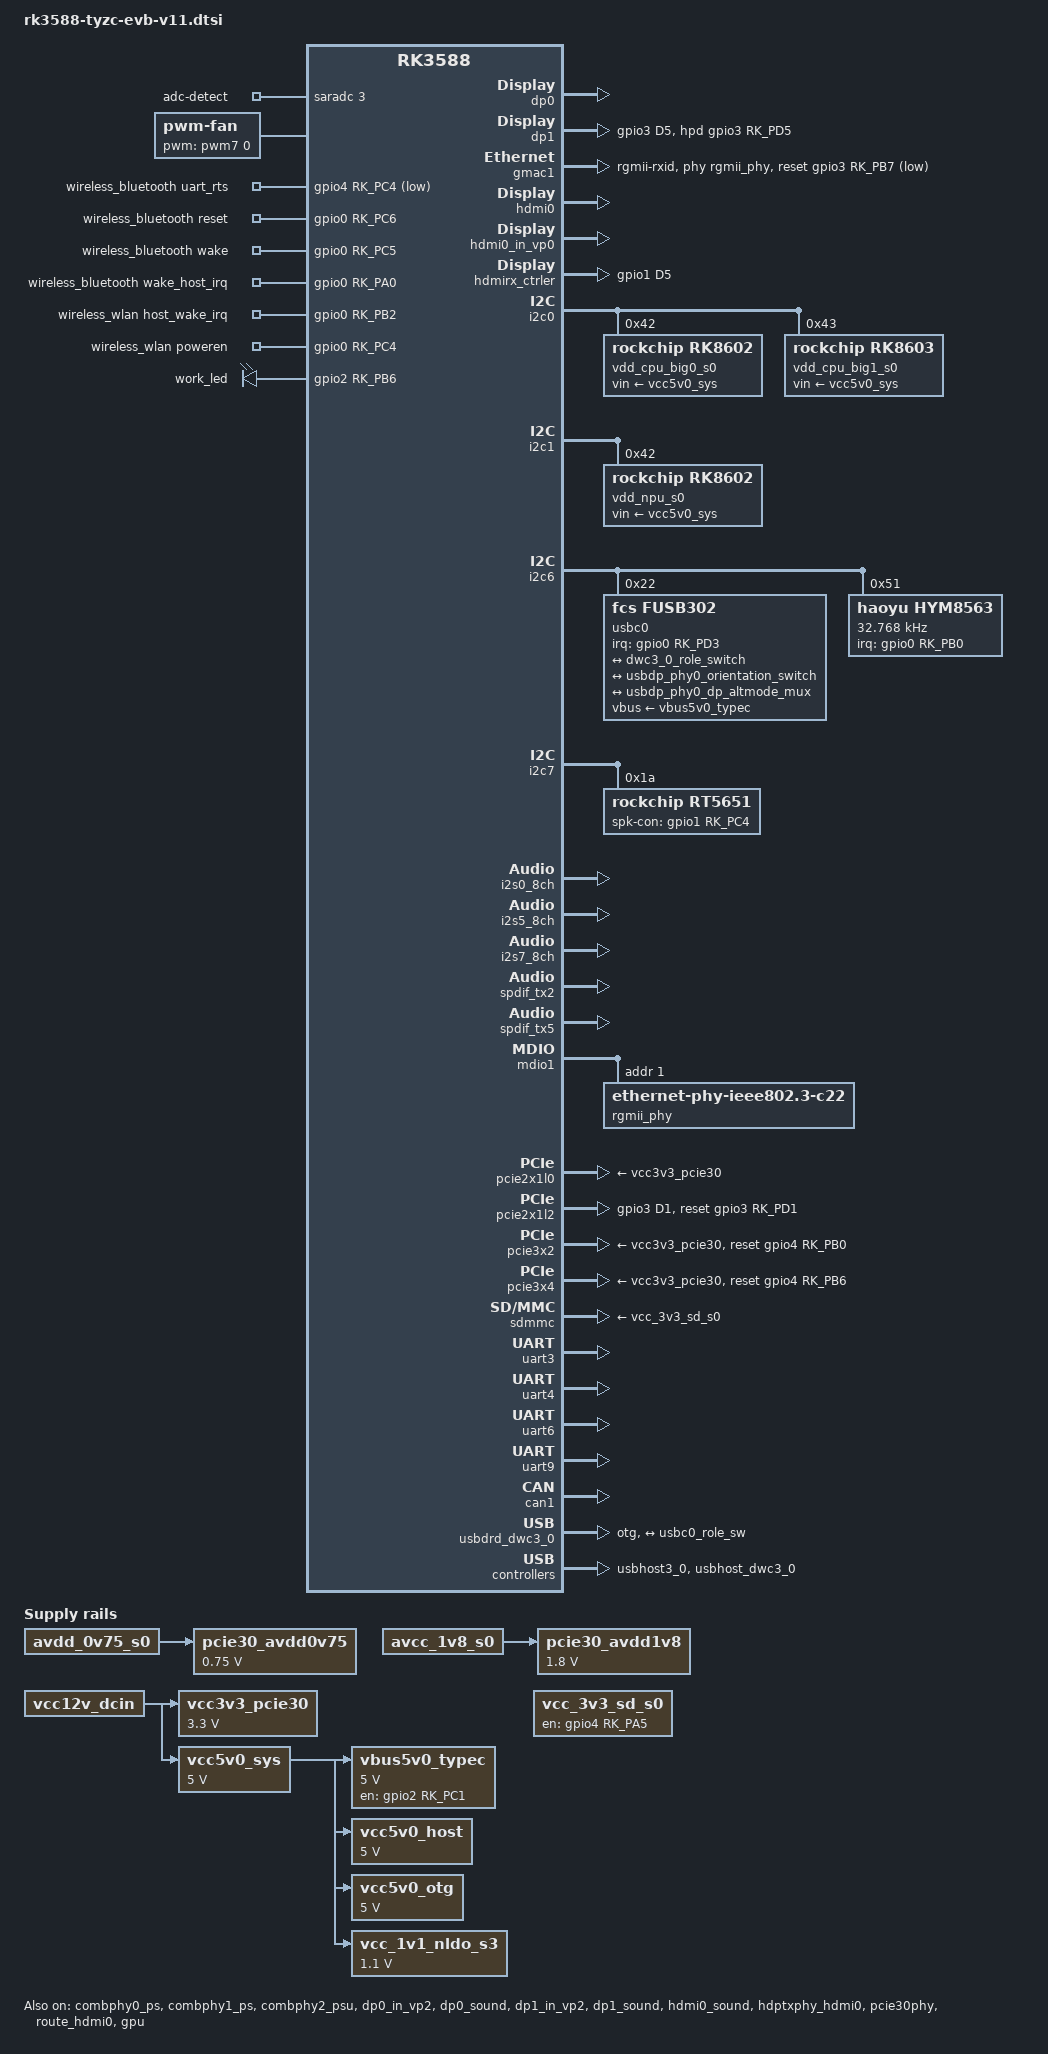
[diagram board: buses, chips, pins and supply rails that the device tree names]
// SPDX-License-Identifier: (GPL-2.0+ OR MIT)
/*
 * Copyright (c) 2022 Rockchip Electronics Co., Ltd.
 *
 */

#include "dt-bindings/usb/pd.h"
#include "rk3588.dtsi"
#include "rk3588-evb.dtsi"
#include "rk3588-rk806-single.dtsi"

/ {
	/* If hdmirx node is disabled, delete the reserved-memory node here. */
	reserved-memory {
		#address-cells = <2>;
		#size-cells = <2>;
		ranges;

		/* Reserve 256MB memory for hdmirx-controller@fdee0000 */
		cma {
			compatible = "shared-dma-pool";
			reusable;
			reg = <0x0 (256 * 0x100000) 0x0 (256 * 0x100000)>;
			linux,cma-default;
		};
	};

	rt5651_sound: rt5651-sound {
		status = "okay";
		compatible = "rockchip,multicodecs-card";
		rockchip,card-name = "realtek,rt5651-codec";
		io-channels = <&saradc 3>;
		io-channel-names = "adc-detect";
		keyup-threshold-microvolt = <1800000>;
		poll-interval = <100>;
		rockchip,pre-power-on-delay-ms = <30>;
		rockchip,post-power-down-delay-ms = <40>;
		rockchip,format = "i2s";
		rockchip,mclk-fs = <256>;
		rockchip,cpu = <&i2s0_8ch>;
		rockchip,codec = <&rt5651>;
		play-pause-key {
			label = "playpause";
			linux,code = <KEY_PLAYPAUSE>;
			press-threshold-microvolt = <2000>;
		};
	};

	fan: pwm-fan {
		compatible = "pwm-fan";
		#cooling-cells = <2>;
		pwms = <&pwm7 0 50000 0>;
		cooling-levels = <0 50 100 150 200 255>;
		rockchip,temp-trips = <
			50000	1
			55000	2
			60000	3
			65000	4
			70000	5
		>;
	};

	hdmiin-sound {
		compatible = "rockchip,hdmi";
		rockchip,mclk-fs = <128>;
		rockchip,format = "i2s";
		rockchip,bitclock-master = <&hdmirx_ctrler>;
		rockchip,frame-master = <&hdmirx_ctrler>;
		rockchip,card-name = "rockchip,hdmiin";
		rockchip,cpu = <&i2s7_8ch>;
		rockchip,codec = <&hdmirx_ctrler 0>;
		rockchip,jack-det;
	};

	pcie30_avdd0v75: pcie30-avdd0v75 {
		compatible = "regulator-fixed";
		regulator-name = "pcie30_avdd0v75";
		regulator-boot-on;
		regulator-always-on;
		regulator-min-microvolt = <750000>;
		regulator-max-microvolt = <750000>;
		vin-supply = <&avdd_0v75_s0>;
	};

	pcie30_avdd1v8: pcie30-avdd1v8 {
		compatible = "regulator-fixed";
		regulator-name = "pcie30_avdd1v8";
		regulator-boot-on;
		regulator-always-on;
		regulator-min-microvolt = <1800000>;
		regulator-max-microvolt = <1800000>;
		vin-supply = <&avcc_1v8_s0>;
	};

	vcc3v3_pcie30: vcc3v3-pcie30 {
		compatible = "regulator-fixed";
		regulator-name = "vcc3v3_pcie30";
		regulator-min-microvolt = <3300000>;
		regulator-max-microvolt = <3300000>;
		enable-active-high;
		startup-delay-us = <7500>;
		vin-supply = <&vcc12v_dcin>;
	};

	vcc5v0_sys: vcc5v0-sys {
		compatible = "regulator-fixed";
		regulator-name = "vcc5v0_sys";
		regulator-always-on;
		regulator-boot-on;
		regulator-min-microvolt = <5000000>;
		regulator-max-microvolt = <5000000>;
		vin-supply = <&vcc12v_dcin>;
	};
	
	vbus5v0_typec: vbus5v0-typec {
		compatible = "regulator-fixed";
		regulator-name = "vbus5v0_typec";
		regulator-min-microvolt = <5000000>;
		regulator-max-microvolt = <5000000>;
		enable-active-high;
		gpio = <&gpio2 RK_PC1 GPIO_ACTIVE_HIGH>;
		vin-supply = <&vcc5v0_sys>;
		pinctrl-names = "default";
		pinctrl-0 = <&typec5v_pwren>;
	};

	vcc5v0_host: vcc5v0-host-regulator {
		compatible = "regulator-fixed";
		regulator-name = "vcc5v0_host";
		regulator-boot-on;
		regulator-always-on;
		regulator-min-microvolt = <5000000>;
		regulator-max-microvolt = <5000000>;
		enable-active-high;
		vin-supply = <&vcc5v0_sys>;
	};

	vcc5v0_otg: vcc5v0-otg-regulator {
		compatible = "regulator-fixed";
		regulator-name = "vcc5v0_otg";
		regulator-min-microvolt = <5000000>;
		regulator-max-microvolt = <5000000>;
		vin-supply = <&vcc5v0_sys>;
	};

	vcc_1v1_nldo_s3: vcc-1v1-nldo-s3 {
		compatible = "regulator-fixed";
		regulator-name = "vcc_1v1_nldo_s3";
		regulator-always-on;
		regulator-boot-on;
		regulator-min-microvolt = <1100000>;
		regulator-max-microvolt = <1100000>;
		vin-supply = <&vcc5v0_sys>;
	};

	vcc_3v3_sd_s0: vcc-3v3-sd-s0-regulator {
		compatible = "regulator-fixed";
		gpio = <&gpio4 RK_PA5 GPIO_ACTIVE_HIGH>;
		pinctrl-names = "default";
		pinctrl-0 = <&sd_s0_pwr>;
		regulator-name = "vcc_3v3_sd_s0";
		enable-active-high;
	};

	wireless_bluetooth: wireless-bluetooth {
		compatible = "bluetooth-platdata";
		bt_port = "/dev/ttyS9";
		clocks = <&hym8563>;
		clock-names = "ext_clock";
		uart_rts_gpios = <&gpio4 RK_PC4 GPIO_ACTIVE_LOW>;
		pinctrl-names = "default", "rts_gpio";
		pinctrl-0 = <&uart9m0_rtsn>, <&bt_reset_gpio>, <&bt_wake_gpio>, <&bt_irq_gpio>;
		pinctrl-1 = <&uart9_gpios>;
		BT,reset_gpio    = <&gpio0 RK_PC6 GPIO_ACTIVE_HIGH>;
		BT,wake_gpio     = <&gpio0 RK_PC5 GPIO_ACTIVE_HIGH>;
		BT,wake_host_irq = <&gpio0 RK_PA0 GPIO_ACTIVE_HIGH>;
		status = "okay";
	};

	wireless_wlan: wireless-wlan {
		compatible = "wlan-platdata";
		wifi_chip_type = "ap6275p";
		pinctrl-names = "default";
		pinctrl-0 = <&wifi_host_wake_irq>, <&wifi_poweren_gpio>;
		WIFI,host_wake_irq = <&gpio0 RK_PB2 GPIO_ACTIVE_HIGH>;
		WIFI,poweren_gpio = <&gpio0 RK_PC4 GPIO_ACTIVE_HIGH>;
		status = "okay";
	};
};

&combphy0_ps {
	status = "okay";
};

&combphy1_ps {
	status = "okay";
};

&combphy2_psu {
	status = "okay";
};

&dp0 {
	status = "okay";
	svid = <0xff01>;
};
&dp0_in_vp2 {
	status = "okay";
};

&dp0_sound{
	status = "okay";
};

&dp1 {
	pinctrl-names = "default";
	pinctrl-0 = <&dp1_hpd>;
	hpd-gpios = <&gpio3 RK_PD5 GPIO_ACTIVE_HIGH>;
	status = "okay";
};

&dp1_in_vp2 {
	status = "okay";
};

&dp1_sound{
	status = "okay";
};

&gmac1 {
	/* Use rgmii-rxid mode to disable rx delay inside Soc */
	phy-mode = "rgmii-rxid";
	clock_in_out = "output";

	snps,reset-gpio = <&gpio3 RK_PB7 GPIO_ACTIVE_LOW>;
	snps,reset-active-low;
	/* Reset time is 20ms, 100ms for rtl8211f */
	snps,reset-delays-us = <0 20000 100000>;

	pinctrl-names = "default";
	pinctrl-0 = <&gmac1_miim
		     &gmac1_tx_bus2
		     &gmac1_rx_bus2
		     &gmac1_rgmii_clk
		     &gmac1_rgmii_bus>;

	tx_delay = <0x43>;
	/* rx_delay = <0x3f>; */

	phy-handle = <&rgmii_phy>;
	status = "okay";
};

&hdmi0 {
	enable-gpios = <&gpio4 RK_PB1 GPIO_ACTIVE_HIGH>;
	status = "okay";
};

&hdmi0_in_vp0 {
	status = "okay";
};

&hdmi0_sound {
	status = "okay";
};

/* Should work with at least 128MB cma reserved above. */
&hdmirx_ctrler {
	status = "okay";

	#sound-dai-cells = <1>;
	/* Effective level used to trigger HPD: 0-low, 1-high */
	hpd-trigger-level = <1>;
	hdmirx-det-gpios = <&gpio1 RK_PD5 GPIO_ACTIVE_LOW>;
	pinctrl-names = "default";
	pinctrl-0 = <&hdmim1_rx &hdmirx_det>;
};

&hdptxphy_hdmi0 {
	status = "okay";
};

&i2c0 {
	status = "okay";
	pinctrl-names = "default";
	pinctrl-0 = <&i2c0m2_xfer>;

	vdd_cpu_big0_s0: vdd_cpu_big0_mem_s0: rk8602@42 {
		compatible = "rockchip,rk8602";
		reg = <0x42>;
		vin-supply = <&vcc5v0_sys>;
		regulator-compatible = "rk860x-reg";
		regulator-name = "vdd_cpu_big0_s0";
		regulator-min-microvolt = <550000>;
		regulator-max-microvolt = <1050000>;
		regulator-ramp-delay = <2300>;
		rockchip,suspend-voltage-selector = <1>;
		regulator-boot-on;
		regulator-always-on;
		regulator-state-mem {
			regulator-off-in-suspend;
		};
	};

	vdd_cpu_big1_s0: vdd_cpu_big1_mem_s0: rk8603@43 {
		compatible = "rockchip,rk8603";
		reg = <0x43>;
		vin-supply = <&vcc5v0_sys>;
		regulator-compatible = "rk860x-reg";
		regulator-name = "vdd_cpu_big1_s0";
		regulator-min-microvolt = <550000>;
		regulator-max-microvolt = <1050000>;
		regulator-ramp-delay = <2300>;
		rockchip,suspend-voltage-selector = <1>;
		regulator-boot-on;
		regulator-always-on;
		regulator-state-mem {
			regulator-off-in-suspend;
		};
	};
};

&i2c1 {
	status = "okay";
	pinctrl-names = "default";
	pinctrl-0 = <&i2c1m2_xfer>;

	vdd_npu_s0: vdd_npu_mem_s0: rk8602@42 {
		compatible = "rockchip,rk8602";
		reg = <0x42>;
		vin-supply = <&vcc5v0_sys>;
		regulator-compatible = "rk860x-reg";
		regulator-name = "vdd_npu_s0";
		regulator-min-microvolt = <550000>;
		regulator-max-microvolt = <950000>;
		regulator-ramp-delay = <2300>;
		rockchip,suspend-voltage-selector = <1>;
		regulator-boot-on;
		regulator-always-on;
		regulator-state-mem {
			regulator-off-in-suspend;
		};
	};
};


&i2c6 {
	status = "okay";

	usbc0: fusb302@22 {
		compatible = "fcs,fusb302";
		reg = <0x22>;
		interrupt-parent = <&gpio0>;
		interrupts = <RK_PD3 IRQ_TYPE_LEVEL_LOW>;
		pinctrl-names = "default";
		pinctrl-0 = <&usbc0_int>;
		vbus-supply = <&vbus5v0_typec>;
		status = "okay";

		ports {
			#address-cells = <1>;
			#size-cells = <0>;

			port@0 {
				reg = <0>;
				usbc0_role_sw: endpoint@0 {
					remote-endpoint = <&dwc3_0_role_switch>;
				};
			};
		};

		usb_con: connector {
			compatible = "usb-c-connector";
			label = "USB-C";
			data-role = "dual";
			power-role = "dual";
			try-power-role = "sink";
			op-sink-microwatt = <1000000>;
			sink-pdos =
				<PDO_FIXED(5000, 1000, PDO_FIXED_USB_COMM)>;
			source-pdos =
				<PDO_FIXED(5000, 3000, PDO_FIXED_USB_COMM)>;
			mode-switch = <&dp0>;

			altmodes {
				#address-cells = <1>;
				#size-cells = <0>;

				altmode@0 {
					reg = <0>;
					svid = <0xff01>;
					vdo = <0xffffffff>;
				};
			};

			ports {
				#address-cells = <1>;
				#size-cells = <0>;

				port@0 {
					reg = <0>;
					usbc0_orien_sw: endpoint {
						remote-endpoint = <&usbdp_phy0_orientation_switch>;
					};
				};

				port@1 {
					reg = <1>;
					dp_altmode_mux: endpoint {
						remote-endpoint = <&usbdp_phy0_dp_altmode_mux>;
					};
				};
			};
		};
	};

	hym8563: hym8563@51 {
		compatible = "haoyu,hym8563";
		reg = <0x51>;
		#clock-cells = <0>;
		clock-frequency = <32768>;
		clock-output-names = "hym8563";
		pinctrl-names = "default";
		pinctrl-0 = <&hym8563_int>;
		interrupt-parent = <&gpio0>;
		interrupts = <RK_PB0 IRQ_TYPE_LEVEL_LOW>;
		wakeup-source;
	};
};

&i2c7 {
	status = "okay";
	rt5651: rt5651@1a {
		#sound-dai-cells = <0>;
		compatible = "rockchip,rt5651";
		reg = <0x1a>;
		clocks = <&mclkout_i2s0>;
		assigned-clocks = <&cru I2S0_8CH_MCLKOUT>;
		assigned-clock-rates = <11289600>;
		clock-names = "mclk";
		pinctrl-names = "default";
		pinctrl-0 = <&i2s0_mclk>;
		spk-con-gpio = <&gpio1 RK_PC4 GPIO_ACTIVE_HIGH>;
		//hp-det-gpio = <&gpio4 28 GPIO_ACTIVE_LOW>;
		status = "okay";
	};
};

&i2s0_8ch {
	status = "okay";
	pinctrl-0 = <&i2s0_lrck
		     &i2s0_sclk
		     &i2s0_sdi0
		     &i2s0_sdo0>;
};

&i2s5_8ch {
	status = "okay";
};

&i2s7_8ch {
	status = "okay";
};

&spdif_tx2 {
	status = "okay";
};

&spdif_tx5 {
	status = "okay";
};

&mdio1 {
	rgmii_phy: phy@1 {
		compatible = "ethernet-phy-ieee802.3-c22";
		reg = <0x1>;
	};
};

//for pcie wifi 
&pcie2x1l0 { 
//	reset-gpios = <&gpio1 RK_PB4 GPIO_ACTIVE_HIGH>; 
	vpcie3v3-supply = <&vcc3v3_pcie30>;
	rockchip,skip-scan-in-resume;
	status = "okay"; 
};

&pcie2x1l1 { 
//	reset-gpios = <&gpio3 RK_PD2 GPIO_ACTIVE_HIGH>; 
	status = "disabled"; 
};

//for Ethernet
&pcie2x1l2 { 
	reset-gpios = <&gpio3 RK_PD1 GPIO_ACTIVE_HIGH>; 
	pinctrl-names = "default";
	pinctrl-0 = <&rtl8111_isolate>; 
	status = "okay"; 
};

&pcie30phy { 
	rockchip,pcie30-phymode = <PHY_MODE_PCIE_NANBNB>; 
	status = "okay"; 
};

// vl805 
&pcie3x2 { 
	reset-gpios = <&gpio4 RK_PB0 GPIO_ACTIVE_HIGH>; 
	vpcie3v3-supply = <&vcc3v3_pcie30>; 
	status = "okay"; 
};

// m2
&pcie3x4 { 
	reset-gpios = <&gpio4 RK_PB6 GPIO_ACTIVE_HIGH>; 
	vpcie3v3-supply = <&vcc3v3_pcie30>;
	rockchip,perst-inactive-ms = <500>;
	status = "okay"; 
};

&pinctrl {
	dp {
		dp1_hpd: dp1-hpd {
			rockchip,pins = <3 RK_PD5 RK_FUNC_GPIO &pcfg_pull_none>;
		};
	};

	hdmi {
		hdmirx_det: hdmirx-det {
			rockchip,pins = <1 RK_PD5 RK_FUNC_GPIO &pcfg_pull_up>;
		};
	};

	hym8563 {
		hym8563_int: hym8563-int {
			rockchip,pins = <0 RK_PB0 RK_FUNC_GPIO &pcfg_pull_up>;
		};
	};

	rtl8111 {
		rtl8111_isolate: rtl8111-isolate {
			rockchip,pins = <3 RK_PD1 RK_FUNC_GPIO &pcfg_pull_up>;
		};
	};

	leds {
		work_leds_gpio: work-leds-gpio {
			rockchip,pins = <2 RK_PB6 RK_FUNC_GPIO &pcfg_pull_down>;
		};
	};

	sdmmc {
		sd_s0_pwr: sd-s0-pwr {
			rockchip,pins = <4 RK_PA5 RK_FUNC_GPIO &pcfg_pull_up>;
		};
	};


	usb-typec {
		usbc0_int: usbc0-int {
			rockchip,pins = <0 RK_PD3 RK_FUNC_GPIO &pcfg_pull_up>;
		};

		typec5v_pwren: typec5v-pwren {
			rockchip,pins = <2 RK_PC1 RK_FUNC_GPIO &pcfg_pull_none>;
		};
	};

	wireless-bluetooth {
		uart9_gpios: uart9-gpios {
			rockchip,pins = <4 RK_PC4 RK_FUNC_GPIO &pcfg_pull_none>;
		};

		bt_reset_gpio: bt-reset-gpio {
			rockchip,pins = <0 RK_PC6 RK_FUNC_GPIO &pcfg_pull_none>;
		};

		bt_wake_gpio: bt-wake-gpio {
			rockchip,pins = <0 RK_PC5 RK_FUNC_GPIO &pcfg_pull_none>;
		};

		bt_irq_gpio: bt-irq-gpio {
			rockchip,pins = <0 RK_PA0 RK_FUNC_GPIO &pcfg_pull_down>;
		};
	};

	wireless-wlan {
		wifi_host_wake_irq: wifi-host-wake-irq {
			rockchip,pins = <0 RK_PB2 RK_FUNC_GPIO &pcfg_pull_down>;
		};
		
		wifi_poweren_gpio: wifi-poweren-gpio {
			rockchip,pins = <0 RK_PC4 RK_FUNC_GPIO &pcfg_pull_up>;
		};
	};
};

&route_hdmi0 {
	status = "okay";
};

&sdmmc {
	status = "okay";
	vmmc-supply = <&vcc_3v3_sd_s0>;
};

&u2phy0_otg {
	rockchip,typec-vbus-det;
};

&u2phy1_otg {
	phy-supply = <&vcc5v0_host>;
};

&u2phy2_host {
	phy-supply = <&vcc5v0_host>;
};

&u2phy3_host {
	phy-supply = <&vcc5v0_host>;
};

&uart3 {
    status = "okay";
    pinctrl-names = "default";
    pinctrl-0 = <&uart3m0_xfer>;
};

&uart4 {
    status = "okay";
    pinctrl-names = "default";
    pinctrl-0 = <&uart4m0_xfer>;
};

&uart6 {
    status = "okay";
    pinctrl-names = "default";
    pinctrl-0 = <&uart6m0_xfer>;
};

&uart9 {
    status = "okay";
    pinctrl-names = "default";
    pinctrl-0 = <&uart9m0_xfer &uart9m0_ctsn>;
};

&can1 {
  status = "okay";
  pinctrl-names = "default";
  pinctrl-0 = <&can1m1_pins>;
};

&usbdp_phy0 {
	orientation-switch;
	svid = <0xff01>;
	sbu1-dc-gpios = <&gpio4 RK_PA3 GPIO_ACTIVE_HIGH>;
	sbu2-dc-gpios = <&gpio4 RK_PA4 GPIO_ACTIVE_HIGH>;

	port {
		#address-cells = <1>;
		#size-cells = <0>;
		usbdp_phy0_orientation_switch: endpoint@0 {
			reg = <0>;
			remote-endpoint = <&usbc0_orien_sw>;
		};

		usbdp_phy0_dp_altmode_mux: endpoint@1 {
			reg = <1>;
			remote-endpoint = <&dp_altmode_mux>;
		};
	};
};

&usbdp_phy1 {
	rockchip,dp-lane-mux = <0 1 2 3>;
};

&usbdrd_dwc3_0 {
	dr_mode = "otg";
	usb-role-switch;
	port {
		#address-cells = <1>;
		#size-cells = <0>;
		dwc3_0_role_switch: endpoint@0 {
			reg = <0>;
			remote-endpoint = <&usbc0_role_sw>;
		};
	};
};

&usbhost3_0 {
	status = "okay";
};

&usbhost_dwc3_0 {
	status = "okay";
};

&work_led {
	gpios = <&gpio2 RK_PB6 GPIO_ACTIVE_HIGH>;
	pinctrl-names = "default";
	pinctrl-0 = <&work_leds_gpio>;
};

&gpu {
	status = "okay";
};

//for ubuntu24
&gpu_panthor {
	mali-supply = <&vdd_gpu_s0>;
	//mem-supply = <&vdd_gpu_mem_s0>;
	status = "disabled";
};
